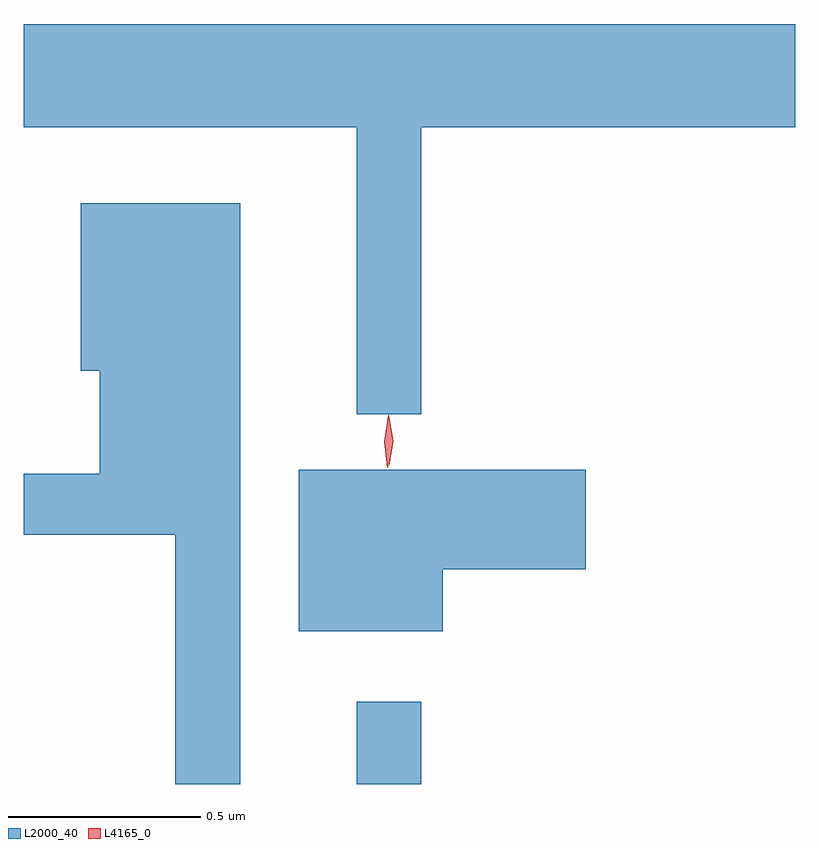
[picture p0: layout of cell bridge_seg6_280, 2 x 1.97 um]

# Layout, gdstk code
import gdstk
lib = gdstk.Library(unit=1e-6, precision=1e-09)
def R(c, l, rs):  # rectangles x0, y0, x1, y1
    for r in rs: c.add(gdstk.rectangle(r[:2], r[2:], *l))
def P(c, l, *ps):  # polygons
    for p in ps: c.add(gdstk.Polygon(p, *l))
L2000_40 = (2000, 40)
L4165_0 = (4165, 0)

bridge_seg6_280 = lib.new_cell('bridge_seg6_280')
R(bridge_seg6_280, L2000_40, [(1277.541,1566.095,1277.709,1566.308)])
P(bridge_seg6_280, L2000_40, [(1277.709,1567.796),(1278.678,1567.796),(1278.678,1568.064),(1276.678,1568.064),(1276.678,1567.796),(1277.541,1567.796),(1277.541,1567.053),(1277.709,1567.053)],
  [(1277.239,1567.599),(1276.826,1567.599),(1276.826,1567.166),(1276.876,1567.166),(1276.876,1566.899),(1276.678,1566.899),(1276.678,1566.741),(1277.071,1566.741),(1277.071,1566.095),(1277.239,1566.095)],
  [(1277.764,1566.651),(1278.134,1566.651),(1278.134,1566.909),(1277.391,1566.909),(1277.391,1566.491),(1277.764,1566.491)])
P(bridge_seg6_280, L4165_0, [(1277.625,1566.92),(1277.616,1566.983),(1277.625,1567.046),(1277.625,1567.047),(1277.626,1567.046),(1277.636,1566.983),(1277.626,1566.92),(1277.626,1566.92)],
  [(1277.621,1566.914),(1277.613,1566.982),(1277.623,1567.05),(1277.623,1567.05),(1277.624,1567.05),(1277.633,1566.982),(1277.622,1566.914),(1277.622,1566.914)])

lib.write_gds('bridge_seg6_280.gds')
